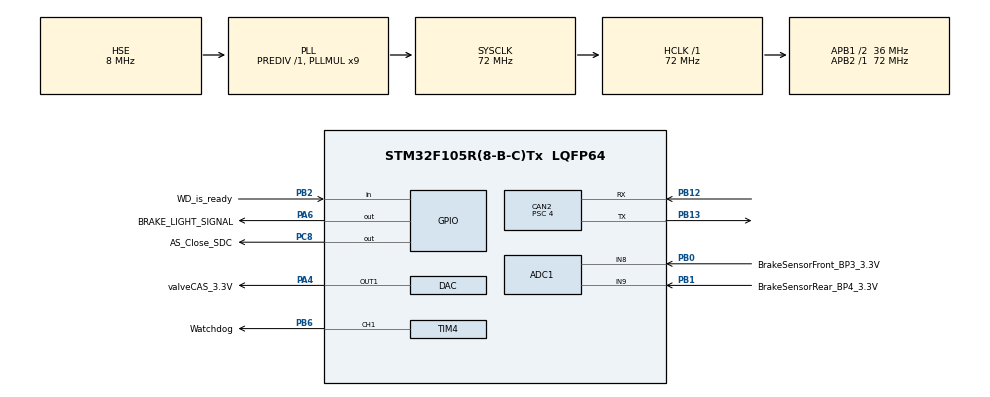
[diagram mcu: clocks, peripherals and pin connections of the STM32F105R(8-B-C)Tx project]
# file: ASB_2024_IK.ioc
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ADC1.Channel-0\#ChannelRegularConversion=ADC_CHANNEL_8
ADC1.Channel-1\#ChannelRegularConversion=ADC_CHANNEL_9
ADC1.ContinuousConvMode=DISABLE
ADC1.NbrOfConversion=2
ADC1.NbrOfConversionFlag=1
ADC1.Rank-0\#ChannelRegularConversion=1
ADC1.Rank-1\#ChannelRegularConversion=2
ADC1.SamplingTime-0\#ChannelRegularConversion=ADC_SAMPLETIME_239CYCLES_5
ADC1.SamplingTime-1\#ChannelRegularConversion=ADC_SAMPLETIME_239CYCLES_5
ADC1.master=1
CAN2.ABOM=ENABLE
CAN2.AWUM=ENABLE
CAN2.BS1=CAN_BS1_15TQ
CAN2.BS2=CAN_BS2_2TQ
CAN2.CalculateBaudRate=500000
CAN2.CalculateTimeBit=2000
CAN2.CalculateTimeQuantum=111.11111111111111
CAN2.NART=ENABLE
CAN2.Prescaler=4
Dma.ADC1.0.Direction=DMA_PERIPH_TO_MEMORY
Dma.ADC1.0.Instance=DMA1_Channel1
Dma.ADC1.0.MemDataAlignment=DMA_MDATAALIGN_HALFWORD
Dma.ADC1.0.MemInc=DMA_MINC_ENABLE
Dma.ADC1.0.Mode=DMA_NORMAL
Dma.ADC1.0.PeriphDataAlignment=DMA_PDATAALIGN_HALFWORD
Dma.ADC1.0.PeriphInc=DMA_PINC_DISABLE
Dma.ADC1.0.Priority=DMA_PRIORITY_LOW
Dma.Request0=ADC1
FREERTOS.Tasks01=readSensors,0,128,StartReadSensorsTsk,Default,NULL,Dynamic,NULL,NULL;supervisor,1,128,supervisorTask,Default,NULL,Dynamic,NULL,NULL
Mcu.Family=STM32F1
Mcu.Name=STM32F105R(8-B-C)Tx
Mcu.Package=LQFP64
NVIC.CAN2_RX0_IRQn=true\:5\:0\:false\:false\:true\:true\:true\:true\:true
NVIC.CAN2_TX_IRQn=true\:5\:0\:false\:false\:true\:true\:true\:true\:true
NVIC.DMA1_Channel1_IRQn=true\:5\:0\:false\:false\:true\:true\:false\:true\:true
NVIC.PriorityGroup=NVIC_PRIORITYGROUP_4
NVIC.TIM7_IRQn=true\:15\:0\:false\:false\:true\:false\:false\:true\:true
NVIC.TimeBase=TIM7_IRQn
NVIC.TimeBaseIP=TIM7
PA13.Mode=Serial_Wire
PA13.Signal=SYS_JTMS-SWDIO
PA14.Mode=Serial_Wire
PA14.Signal=SYS_JTCK-SWCLK
PA4.GPIO_Label=valveCAS_3.3V
PA4.Signal=COMP_DAC1_group
PA6.GPIO_Label=BRAKE_LIGHT_SIGNAL
PA6.GPIO_Speed=GPIO_SPEED_FREQ_HIGH
PA6.Signal=GPIO_Output
PB0.GPIO_Label=BrakeSensorFront_BP3_3.3V
PB0.Signal=ADCx_IN8
PB1.GPIO_Label=BrakeSensorRear_BP4_3.3V
PB1.Signal=ADCx_IN9
PB12.Mode=CAN_Activate
PB12.Signal=CAN2_RX
PB13.Mode=CAN_Activate
PB13.Signal=CAN2_TX
PB2.GPIO_Label=WD_is_ready
PB2.Signal=GPIO_Input
PB6.GPIO_Label=Watchdog
PB6.Signal=S_TIM4_CH1
PC8.GPIO_Label=AS_Close_SDC
PC8.GPIO_PuPd=GPIO_PULLDOWN
PC8.GPIO_Speed=GPIO_SPEED_FREQ_HIGH
PC8.Signal=GPIO_Output
PD0-OSC_IN.Mode=HSE-External-Oscillator
PD0-OSC_IN.Signal=RCC_OSC_IN
PD1-OSC_OUT.Mode=HSE-External-Oscillator
PD1-OSC_OUT.Signal=RCC_OSC_OUT
ProjectManager.HeapSize=0x200
ProjectManager.StackSize=0x400
ProjectManager.TargetToolchain=MDK-ARM V5
RCC.ADCPresc=RCC_ADCPCLK2_DIV6
RCC.AHBFreq_Value=72000000
RCC.APB1CLKDivider=RCC_HCLK_DIV2
RCC.APB1Freq_Value=36000000
RCC.APB1TimFreq_Value=72000000
RCC.APB2Freq_Value=72000000
RCC.APB2TimFreq_Value=72000000
RCC.HCLKFreq_Value=72000000
RCC.PLLMUL=RCC_PLL_MUL9
RCC.PLLSourceVirtual=RCC_PLLSOURCE_HSE
RCC.SYSCLKFreq_VALUE=72000000
RCC.SYSCLKSource=RCC_SYSCLKSOURCE_PLLCLK
RCC.USBFreq_Value=48000000
SH.ADCx_IN8.0=ADC1_IN8,IN8
SH.ADCx_IN9.0=ADC1_IN9,IN9
SH.COMP_DAC1_group.0=DAC_OUT1,DAC_OUT1
SH.S_TIM4_CH1.0=TIM4_CH1,PWM Generation1 CH1
TIM4.Channel-PWM\ Generation1\ CH1=TIM_CHANNEL_1
TIM4.Period=1999
TIM4.Prescaler=71
TIM4.Pulse-PWM\ Generation1\ CH1=999
VP_FREERTOS_VS_CMSIS_V1.Mode=CMSIS_V1
VP_SYS_VS_tim7.Mode=TIM7
board=custom

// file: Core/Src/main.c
/* USER CODE BEGIN Header */
/**
  ******************************************************************************
  * @file           : main.c
  * @brief          : Main program body
  ******************************************************************************
  * @attention
  *
  * Copyright (c) 2024 STMicroelectronics.
  * All rights reserved.
  *
  * This software is licensed under terms that can be found in the LICENSE file
  * in the root directory of this software component.
  * If no LICENSE file comes with this software, it is provided AS-IS.
  *
  ******************************************************************************
  */
/* USER CODE END Header */
#include "main.h"
#include "cmsis_os.h"

/* USER CODE BEGIN Includes */
#include <ISO646.h>
#include <stdlib.h>
#include <math.h>
#include <stdbool.h>
/* USER CODE END Includes */

/* USER CODE BEGIN PD */
#define SDC_CLOSE() HAL_GPIO_WritePin(AS_Close_SDC_GPIO_Port,AS_Close_SDC_Pin,GPIO_PIN_SET);
#define SDC_OPEN() HAL_GPIO_WritePin(AS_Close_SDC_GPIO_Port,AS_Close_SDC_Pin,GPIO_PIN_RESET);
#define BRAKE_LIGHT_ON() HAL_GPIO_WritePin(BRAKE_LIGHT_SIGNAL_GPIO_Port,BRAKE_LIGHT_SIGNAL_Pin,GPIO_PIN_SET);
#define BRAKE_LIGHT_OFF() HAL_GPIO_WritePin(BRAKE_LIGHT_SIGNAL_GPIO_Port,BRAKE_LIGHT_SIGNAL_Pin,GPIO_PIN_RESET);

#define WD_READY_FALL_TIME 100  	// Time during which WD_is_ready is expected to fall, ms
#define WD_READY_RISE_TIME 100	 	// Time during which WD_is_ready is expected to rise, ms

#define STORAGE_PNEUMO_MIN_PRESSURE_BP1		6.5 	// bar
#define STORAGE_PNEUMO_MIN_PRESSURE_BP2 	5.5 	// bar
#define STORAGE_PNEUMO_MAX_PRESSURE_BP1 	8.5 	// bar
#define STORAGE_PNEUMO_MAX_PRESSURE_BP2 	6.5 	// bar
#define HYDRO_MIN_PRESSURE								10   	// bar
/*
The pressure sensor cannot output 0 during operation.
If the sensor outputs a value of 0, then it is defective.
Therefore we must enter some minimum value PRESSURE_MIN. This value is found empirically.
If the value coming from the sensor is less than PRESSURE_MIN, then we assume that the sensor outputs zero.
We also enter the PRESSURE_ZERO value.
If the value coming from the sensor is less than PRESSURE_ZERO, the sensor does not work.
*/
#define PNEUMO_MIN_PRESSURE 		1 	// bar
//#define PNEUMO_ZERO_PRESSURE		3
#define PRESSURE_MAX_DIFFERENCE 410 // Need found

#define TIME_FOR_SENSORS_CHECK 	100

#define DAC_PRESSURE_MIN 0x0
#define DAC_PRESSURE_MAX 0xFFF
#define CAN_PRESSURE_MIN 0x0
#define CAN_PRESSURE_MAX 0xFFFF
#define PNEUMO_BAR_PRESSURE_MIN 	0
#define PNEUMO_BAR_PRESSURE_MAX 	6
#define HYDRO_BAR_PRESSURE_MIN 		0
#define HYDRO_BAR_PRESSURE_MAX 		100

#define PI 3.141592

#define Alpha_BrakePreshure 0.2

#define DEBUG 0

#if (DEBUG == 0)
#define MEDIAN_ORDER 10
#endif

uint8_t SDC_STATUS = 1;
uint8_t BRAKE_LIGHT_STATE = 0;
volatile uint16_t adc[2] = {0,}; // у нас два канала поэтому массив из двух элементов
bool ADC_flag = 0;
float VAL_BrakeSensFront_f,VAL_BrakeSensRear_f = 0;
uint16_t ADC_BrakeSensFront,ADC_BrakeSensFront_prev,ADC_BrakeSensFront_f = 0;
uint16_t ADC_BrakeSensRear,ADC_BrakeSensRear_prev,ADC_BrakeSensRear_f = 0;
uint16_t indeX = 4095;

/*--------иницилизация CAN--------*/
CAN_TxHeaderTypeDef pTxHeader;
CAN_RxHeaderTypeDef pRxHeader;
uint32_t TxMailbox;
uint8_t Rx = 0;
float recieve = 0;
uint8_t TX_data[8], RX_data[8];
CAN_FilterTypeDef sFilterConfig;
/* USER CODE END PD */

ADC_HandleTypeDef hadc1;
DMA_HandleTypeDef hdma_adc1;

CAN_HandleTypeDef hcan2;

DAC_HandleTypeDef hdac;

TIM_HandleTypeDef htim4;

osThreadId readSensorsHandle;
osThreadId supervisorHandle;

void SystemClock_Config(void);
static void MX_GPIO_Init(void);
static void MX_DMA_Init(void);
static void MX_ADC1_Init(void);
static void MX_TIM4_Init(void);
static void MX_CAN2_Init(void);
static void MX_DAC_Init(void);
void StartReadSensorsTsk(void const * argument);
void supervisorTask(void const * argument);

/* USER CODE BEGIN 0 */
float exponential_filter(float alpha, float currentValue, float previousValue){ //функция экспоненциального фильтра
	return alpha * currentValue + (1.0f - alpha) * previousValue;
}

void HAL_ADC_ConvCpltCallback(ADC_HandleTypeDef* hadc){ //прерывание по окончанию преобразования АЦП
    if(hadc->Instance == ADC1)
    {
			HAL_ADC_Stop(&hadc1);
      ADC_flag = 1;
    }
}

void BrakeSensors(){ //считывание и фильтрация сигнала с датчиков давления гидравлики
	if(ADC_flag)
  {
    ADC_flag = 0;
		ADC_BrakeSensFront = adc[0];
		ADC_BrakeSensRear = adc[1];
		adc[0] = 0;
    adc[1] = 0;

		/*-----------Exponential filter-----------*/
		ADC_BrakeSensFront_f = exponential_filter(0.2f,ADC_BrakeSensFront,ADC_BrakeSensFront_prev);
		ADC_BrakeSensRear_f = exponential_filter(0.2f,ADC_BrakeSensRear,ADC_BrakeSensRear_prev);
		ADC_BrakeSensFront_prev = ADC_BrakeSensFront;
		ADC_BrakeSensRear_prev = ADC_BrakeSensRear;

		/*-----------ADC -> Bar-----------*/
		VAL_BrakeSensFront_f = (ADC_BrakeSensFront_f * 100.0f)/4095.0f;
		VAL_BrakeSensRear_f = (ADC_BrakeSensRear_f * 100.0f)/4095.0f;
		HAL_ADC_Start_DMA(&hadc1, (uint32_t*)&adc, 2); // стартуем АЦП
  }
}

void BRAKE_LIGHT_FUNCTION(){ //функция свечения стопаря в зависимости от давления в гидравлике
	if(ADC_BrakeSensRear_f >= 15) {BRAKE_LIGHT_ON();}
	else if(ADC_BrakeSensRear_f <= 5) {BRAKE_LIGHT_OFF();}
}
/* USER CODE END 0 */

int main(void)
{

  /* MCU Configuration--------------------------------------------------------*/

  /* Reset of all peripherals, Initializes the Flash interface and the Systick. */
  HAL_Init();

  /* Configure the system clock */
  SystemClock_Config();

  /* Initialize all configured peripherals */
  MX_GPIO_Init();
  MX_DMA_Init();
  MX_ADC1_Init();
  MX_TIM4_Init();
  MX_CAN2_Init();
  MX_DAC_Init();
  /* USER CODE BEGIN 2 */

	HAL_DAC_Start(&hdac, DAC_CHANNEL_1);

  HAL_TIM_PWM_Start(&htim4, Watchdog_Pin); //тактирование Watchdog

  HAL_ADCEx_Calibration_Start(&hadc1); //калибруем АЦП
	HAL_ADC_Start_DMA(&hadc1, (uint32_t*)&adc, 2); // стартуем АЦП
  /* USER CODE END 2 */

  /* Create the thread(s) */
  /* definition and creation of readSensors */
  osThreadDef(readSensors, StartReadSensorsTsk, osPriorityNormal, 0, 128);
  readSensorsHandle = osThreadCreate(osThread(readSensors), NULL);

  /* definition and creation of supervisor */
  osThreadDef(supervisor, supervisorTask, osPriorityAboveNormal, 0, 128);
  supervisorHandle = osThreadCreate(osThread(supervisor), NULL);

  /* Start scheduler */
  osKernelStart();

  /* We should never get here as control is now taken by the scheduler */

  /* Infinite loop */
  while (1)
  {

  }
}

void SystemClock_Config(void)
{
  RCC_OscInitTypeDef RCC_OscInitStruct = {0};
  RCC_ClkInitTypeDef RCC_ClkInitStruct = {0};
  RCC_PeriphCLKInitTypeDef PeriphClkInit = {0};

  /** Initializes the RCC Oscillators according to the specified parameters
  * in the RCC_OscInitTypeDef structure.
  */
  RCC_OscInitStruct.OscillatorType = RCC_OSCILLATORTYPE_HSE;
  RCC_OscInitStruct.HSEState = RCC_HSE_ON;
  RCC_OscInitStruct.HSEPredivValue = RCC_HSE_PREDIV_DIV1;
  RCC_OscInitStruct.HSIState = RCC_HSI_ON;
  RCC_OscInitStruct.Prediv1Source = RCC_PREDIV1_SOURCE_HSE;
  RCC_OscInitStruct.PLL.PLLState = RCC_PLL_ON;
  RCC_OscInitStruct.PLL.PLLSource = RCC_PLLSOURCE_HSE;
  RCC_OscInitStruct.PLL.PLLMUL = RCC_PLL_MUL9;
  RCC_OscInitStruct.PLL2.PLL2State = RCC_PLL_NONE;
  if (HAL_RCC_OscConfig(&RCC_OscInitStruct) != HAL_OK)
  {
    Error_Handler();
  }

  /** Initializes the CPU, AHB and APB buses clocks
  */
  RCC_ClkInitStruct.ClockType = RCC_CLOCKTYPE_HCLK|RCC_CLOCKTYPE_SYSCLK
                              |RCC_CLOCKTYPE_PCLK1|RCC_CLOCKTYPE_PCLK2;
  RCC_ClkInitStruct.SYSCLKSource = RCC_SYSCLKSOURCE_PLLCLK;
  RCC_ClkInitStruct.AHBCLKDivider = RCC_SYSCLK_DIV1;
  RCC_ClkInitStruct.APB1CLKDivider = RCC_HCLK_DIV2;
  RCC_ClkInitStruct.APB2CLKDivider = RCC_HCLK_DIV1;

  if (HAL_RCC_ClockConfig(&RCC_ClkInitStruct, FLASH_LATENCY_2) != HAL_OK)
  {
    Error_Handler();
  }
  PeriphClkInit.PeriphClockSelection = RCC_PERIPHCLK_ADC;
  PeriphClkInit.AdcClockSelection = RCC_ADCPCLK2_DIV6;
  if (HAL_RCCEx_PeriphCLKConfig(&PeriphClkInit) != HAL_OK)
  {
    Error_Handler();
  }

  /** Configure the Systick interrupt time
  */
  __HAL_RCC_PLLI2S_ENABLE();
}

static void MX_ADC1_Init(void)
{

  ADC_ChannelConfTypeDef sConfig = {0};

  /** Common config
  */
  hadc1.Instance = ADC1;
  hadc1.Init.ScanConvMode = ADC_SCAN_ENABLE;
  hadc1.Init.ContinuousConvMode = DISABLE;
  hadc1.Init.DiscontinuousConvMode = DISABLE;
  hadc1.Init.ExternalTrigConv = ADC_SOFTWARE_START;
  hadc1.Init.DataAlign = ADC_DATAALIGN_RIGHT;
  hadc1.Init.NbrOfConversion = 2;
  if (HAL_ADC_Init(&hadc1) != HAL_OK)
  {
    Error_Handler();
  }

  /** Configure Regular Channel
  */
  sConfig.Channel = ADC_CHANNEL_8;
  sConfig.Rank = ADC_REGULAR_RANK_1;
  sConfig.SamplingTime = ADC_SAMPLETIME_239CYCLES_5;
  if (HAL_ADC_ConfigChannel(&hadc1, &sConfig) != HAL_OK)
  {
    Error_Handler();
  }

  /** Configure Regular Channel
  */
  sConfig.Channel = ADC_CHANNEL_9;
  sConfig.Rank = ADC_REGULAR_RANK_2;
  if (HAL_ADC_ConfigChannel(&hadc1, &sConfig) != HAL_OK)
  {
    Error_Handler();
  }

}

static void MX_CAN2_Init(void)
{

  hcan2.Instance = CAN2;
  hcan2.Init.Prescaler = 4;
  hcan2.Init.Mode = CAN_MODE_NORMAL;
  hcan2.Init.SyncJumpWidth = CAN_SJW_1TQ;
  hcan2.Init.TimeSeg1 = CAN_BS1_15TQ;
  hcan2.Init.TimeSeg2 = CAN_BS2_2TQ;
  hcan2.Init.TimeTriggeredMode = DISABLE;
  hcan2.Init.AutoBusOff = ENABLE;
  hcan2.Init.AutoWakeUp = ENABLE;
  hcan2.Init.AutoRetransmission = ENABLE;
  hcan2.Init.ReceiveFifoLocked = DISABLE;
  hcan2.Init.TransmitFifoPriority = DISABLE;
  if (HAL_CAN_Init(&hcan2) != HAL_OK)
  {
    Error_Handler();
  }
  /* USER CODE BEGIN CAN2_Init 2 */
	pTxHeader.DLC = 5; //Колличество передаваемых бит
pTxHeader.IDE = CAN_ID_STD;
pTxHeader.RTR = CAN_RTR_DATA;
pTxHeader.StdId = 0x302; //Nдентификатор
pTxHeader.TransmitGlobalTime = DISABLE;
//
sFilterConfig.FilterBank = 0;
sFilterConfig.FilterMode = CAN_FILTERMODE_IDLIST; //Режим работы: IDMASK/IDLIST
sFilterConfig.FilterFIFOAssignment = CAN_RX_FIFO0;
sFilterConfig.SlaveStartFilterBank = 0;
sFilterConfig.FilterIdHigh = 0x100<<5;
sFilterConfig.FilterIdLow = 0x100<<5;
sFilterConfig.FilterMaskIdHigh = 0x100<<5;
sFilterConfig.FilterMaskIdLow = 0x100<<5;
sFilterConfig.FilterScale = CAN_FILTERSCALE_16BIT;
sFilterConfig.FilterActivation = ENABLE;

if (HAL_CAN_ConfigFilter(&hcan2, &sFilterConfig)!= HAL_OK)
{
// Filter configuration Error
Error_Handler();
}

if(HAL_CAN_Start(&hcan2)!= HAL_OK)
{
//Start Error
Error_Handler();
}
/* Activate CAN RX notification */
if (HAL_CAN_ActivateNotification(&hcan2, CAN_IT_RX_FIFO0_MSG_PENDING | CAN_IT_TX_MAILBOX_EMPTY) != HAL_OK)
{
/* Notification Error */
Error_Handler();
}

  /* USER CODE END CAN2_Init 2 */

}

static void MX_DAC_Init(void)
{

  DAC_ChannelConfTypeDef sConfig = {0};

  /** DAC Initialization
  */
  hdac.Instance = DAC;
  if (HAL_DAC_Init(&hdac) != HAL_OK)
  {
    Error_Handler();
  }

  /** DAC channel OUT1 config
  */
  sConfig.DAC_Trigger = DAC_TRIGGER_NONE;
  sConfig.DAC_OutputBuffer = DAC_OUTPUTBUFFER_ENABLE;
  if (HAL_DAC_ConfigChannel(&hdac, &sConfig, DAC_CHANNEL_1) != HAL_OK)
  {
    Error_Handler();
  }

}

static void MX_TIM4_Init(void)
{

  TIM_MasterConfigTypeDef sMasterConfig = {0};
  TIM_OC_InitTypeDef sConfigOC = {0};

  htim4.Instance = TIM4;
  htim4.Init.Prescaler = 71;
  htim4.Init.CounterMode = TIM_COUNTERMODE_UP;
  htim4.Init.Period = 1999;
  htim4.Init.ClockDivision = TIM_CLOCKDIVISION_DIV1;
  htim4.Init.AutoReloadPreload = TIM_AUTORELOAD_PRELOAD_DISABLE;
  if (HAL_TIM_PWM_Init(&htim4) != HAL_OK)
  {
    Error_Handler();
  }
  sMasterConfig.MasterOutputTrigger = TIM_TRGO_RESET;
  sMasterConfig.MasterSlaveMode = TIM_MASTERSLAVEMODE_DISABLE;
  if (HAL_TIMEx_MasterConfigSynchronization(&htim4, &sMasterConfig) != HAL_OK)
  {
    Error_Handler();
  }
  sConfigOC.OCMode = TIM_OCMODE_PWM1;
  sConfigOC.Pulse = 999;
  sConfigOC.OCPolarity = TIM_OCPOLARITY_HIGH;
  sConfigOC.OCFastMode = TIM_OCFAST_DISABLE;
  if (HAL_TIM_PWM_ConfigChannel(&htim4, &sConfigOC, TIM_CHANNEL_1) != HAL_OK)
  {
    Error_Handler();
  }
  HAL_TIM_MspPostInit(&htim4);

}

static void MX_DMA_Init(void)
{

  /* DMA controller clock enable */
  __HAL_RCC_DMA1_CLK_ENABLE();

  /* DMA interrupt init */
  /* DMA1_Channel1_IRQn interrupt configuration */
  HAL_NVIC_SetPriority(DMA1_Channel1_IRQn, 5, 0);
  HAL_NVIC_EnableIRQ(DMA1_Channel1_IRQn);

}

static void MX_GPIO_Init(void)
{
  GPIO_InitTypeDef GPIO_InitStruct = {0};

  /* GPIO Ports Clock Enable */
  __HAL_RCC_GPIOD_CLK_ENABLE();
  __HAL_RCC_GPIOA_CLK_ENABLE();
  __HAL_RCC_GPIOB_CLK_ENABLE();
  __HAL_RCC_GPIOC_CLK_ENABLE();

  /*Configure GPIO pin Output Level */
  HAL_GPIO_WritePin(BRAKE_LIGHT_SIGNAL_GPIO_Port, BRAKE_LIGHT_SIGNAL_Pin, GPIO_PIN_RESET);

  /*Configure GPIO pin Output Level */
  HAL_GPIO_WritePin(AS_Close_SDC_GPIO_Port, AS_Close_SDC_Pin, GPIO_PIN_RESET);

  /*Configure GPIO pin : BRAKE_LIGHT_SIGNAL_Pin */
  GPIO_InitStruct.Pin = BRAKE_LIGHT_SIGNAL_Pin;
  GPIO_InitStruct.Mode = GPIO_MODE_OUTPUT_PP;
  GPIO_InitStruct.Pull = GPIO_NOPULL;
  GPIO_InitStruct.Speed = GPIO_SPEED_FREQ_HIGH;
  HAL_GPIO_Init(BRAKE_LIGHT_SIGNAL_GPIO_Port, &GPIO_InitStruct);

  /*Configure GPIO pin : WD_is_ready_Pin */
  GPIO_InitStruct.Pin = WD_is_ready_Pin;
  GPIO_InitStruct.Mode = GPIO_MODE_INPUT;
  GPIO_InitStruct.Pull = GPIO_NOPULL;
  HAL_GPIO_Init(WD_is_ready_GPIO_Port, &GPIO_InitStruct);

  /*Configure GPIO pin : AS_Close_SDC_Pin */
  GPIO_InitStruct.Pin = AS_Close_SDC_Pin;
  GPIO_InitStruct.Mode = GPIO_MODE_OUTPUT_PP;
  GPIO_InitStruct.Pull = GPIO_PULLDOWN;
  GPIO_InitStruct.Speed = GPIO_SPEED_FREQ_HIGH;
  HAL_GPIO_Init(AS_Close_SDC_GPIO_Port, &GPIO_InitStruct);

}

/* USER CODE BEGIN 4 */

void HAL_CAN_RxFifo0MsgPendingCallback(CAN_HandleTypeDef *hcan){
HAL_CAN_GetRxMessage(hcan, CAN_RX_FIFO0, &pRxHeader, RX_data);
 if(pRxHeader.StdId == 0x100){
 //*(uint32_t*)&PWM_SET = *((uint32_t*)&RX_data[0]);
 Rx = RX_data[0];
 //DIR = RX_data[4];
 }
}

/* USER CODE END 4 */

void StartReadSensorsTsk(void const * argument)
{
  /* USER CODE BEGIN 5 */

  /* Infinite loop */
  for(;;)
  {
		HAL_DAC_SetValue(&hdac, DAC_CHANNEL_1, DAC_ALIGN_12B_R, indeX);
		if(Rx == 0) SDC_OPEN();
		if(Rx == 1) SDC_CLOSE();

//		if(BRAKE_LIGHT_STATE == 0) BRAKE_LIGHT_OFF();
//		if(BRAKE_LIGHT_STATE == 1) BRAKE_LIGHT_ON();

		BrakeSensors();
		BRAKE_LIGHT_FUNCTION();
    osDelay(1);
  }
  /* USER CODE END 5 */
}

void supervisorTask(void const * argument)
{
  for(;;)
  {
    osDelay(1);
  }
}

void HAL_TIM_PeriodElapsedCallback(TIM_HandleTypeDef *htim)
{
  if (htim->Instance == TIM7) {
    HAL_IncTick();
  }
}

void Error_Handler(void)
{
  __disable_irq();
  while (1)
  {
  }
}
